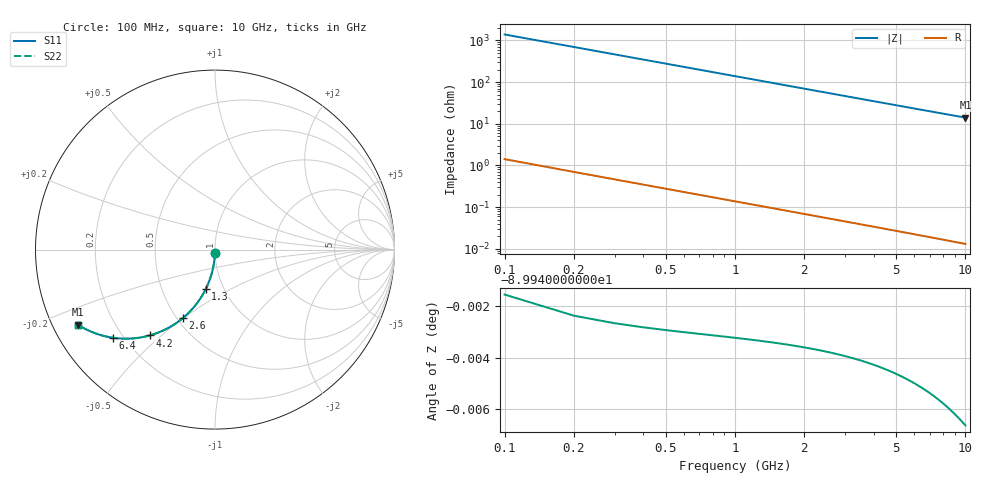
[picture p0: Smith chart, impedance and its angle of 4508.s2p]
# Hz S RI R 50.00
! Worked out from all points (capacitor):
!   100 points, 100 MHz to 10 GHz, reference 50 ohm
!   read as one part in shunt: C = 1.15 pF near 100 MHz
!   lowest |Z| = 14 ohm at 10 GHz (marker M1)
!   S11 on the Smith chart (normalised r, x): 100 MHz: 1.00, -0.04; 1.3 GHz: 0.82, -0.38; 2.6 GHz: 0.53, -0.50; 4.2 GHz: 0.31, -0.46; 6.4 GHz: 0.16, -0.36; 10 GHz: 0.07, -0.25
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1e8  -0.000305 -0.018  0.9996 -0.0181  0.9996 -0.0181  -0.000305 -0.018
2e8  -0.0013 -0.0359  0.9986 -0.0362  0.9986 -0.0362  -0.0013 -0.0359
3e8  -0.00294 -0.0538  0.997 -0.0541  0.997 -0.0541  -0.00294 -0.0538
4e8  -0.00521 -0.0716  0.9947 -0.072  0.9947 -0.072  -0.00521 -0.0716
5e8  -0.00812 -0.0892  0.9918 -0.0898  0.9918 -0.0898  -0.00812 -0.0892
6e8  -0.0117 -0.1066  0.9883 -0.1073  0.9883 -0.1073  -0.0117 -0.1066
7e8  -0.0158 -0.1239  0.9841 -0.1247  0.9841 -0.1247  -0.0158 -0.1239
8e8  -0.0205 -0.1409  0.9794 -0.1418  0.9794 -0.1418  -0.0205 -0.1409
1e9  -0.0317 -0.1741  0.9683 -0.1753  0.9683 -0.1753  -0.0317 -0.1741
1.3e9  -0.0523 -0.2215  0.9476 -0.223  0.9476 -0.223  -0.0523 -0.2215
1.5e9  -0.0684 -0.2512  0.9315 -0.2529  0.9315 -0.2529  -0.0684 -0.2512
1.8e9  -0.0956 -0.2926  0.9043 -0.2946  0.9043 -0.2946  -0.0956 -0.2926
2.2e9  -0.1363 -0.3414  0.8636 -0.3439  0.8636 -0.3439  -0.1363 -0.3414
2.6e9  -0.1805 -0.3827  0.8194 -0.3856  0.8194 -0.3856  -0.1805 -0.3827
3.4e9  -0.2734 -0.4433  0.7265 -0.4472  0.7265 -0.4472  -0.2734 -0.4433
4.2e9  -0.3647 -0.4784  0.6353 -0.4833  0.6353 -0.4833  -0.3647 -0.4784
5.1e9  -0.4582 -0.4948  0.5417 -0.5007  0.5417 -0.5007  -0.4582 -0.4948
6.4e9  -0.571 -0.4907  0.4289 -0.4981  0.4289 -0.4981  -0.571 -0.4907
6.7e9  -0.5933 -0.4868  0.4066 -0.4946  0.4066 -0.4946  -0.5933 -0.4868
7.5e9  -0.6463 -0.4733  0.3536 -0.4819  0.3536 -0.4819  -0.6463 -0.4733
8.4e9  -0.6962 -0.4545  0.3037 -0.4642  0.3037 -0.4642  -0.6962 -0.4545
1e10  -0.7646 -0.4179  0.2353 -0.4295  0.2353 -0.4295  -0.7646 -0.4179
